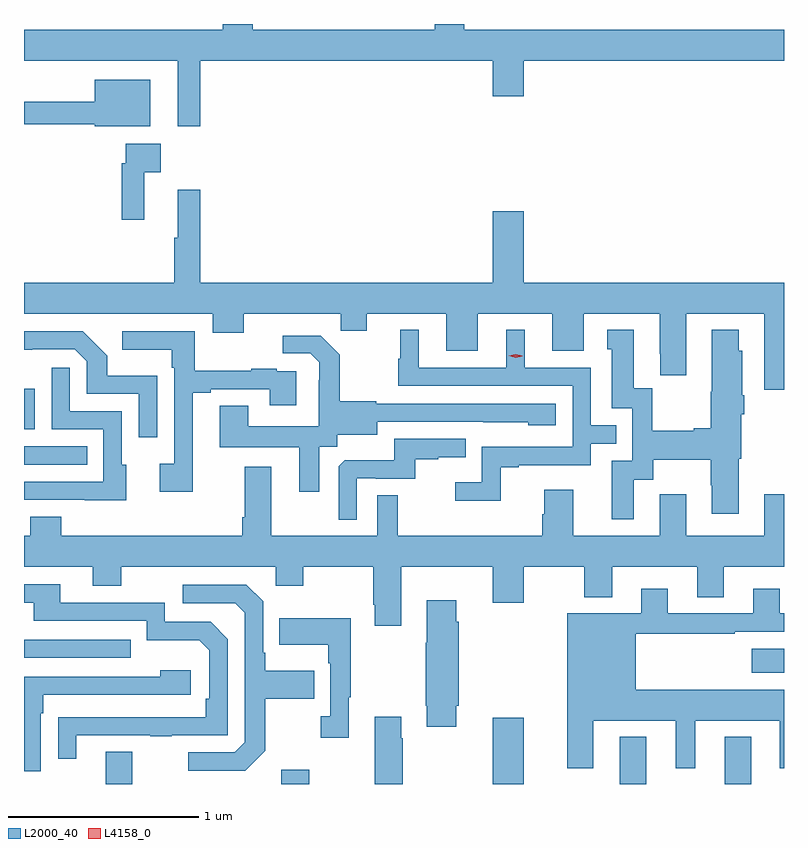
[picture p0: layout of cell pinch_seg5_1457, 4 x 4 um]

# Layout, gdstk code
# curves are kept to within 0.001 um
import gdstk
lib = gdstk.Library(unit=1e-6, precision=1e-09)
def R(c, l, rs):  # rectangles x0, y0, x1, y1
    for r in rs: c.add(gdstk.rectangle(r[:2], r[2:], *l))
def P(c, l, *ps):  # polygons
    for p in ps: c.add(gdstk.Polygon(p, *l))
L2000_40 = (2000, 40)
L4158_0 = (4158, 0)

pinch_seg5_1457 = lib.new_cell('pinch_seg5_1457')
R(pinch_seg5_1457, L2000_40, [(210.923,844.961,211.063,845.131), (211.847,844.961,211.995,845.035), (212.96,844.961,213.124,845.311), (213.629,844.961,213.769,845.209), (214.181,844.961,214.321,845.209), (214.323,845.546,214.494,845.674), (210.494,845.625,211.055,845.721), (210.494,846.642,210.827,846.738), (210.494,846.827,210.55,847.042)])
P(pinch_seg5_1457, L2000_40, [(211.421,848.768),(212.96,848.768),(212.96,848.58),(213.124,848.58),(213.124,848.768),(214.494,848.768),(214.494,848.932),(212.81,848.932),(212.81,848.961),(212.657,848.961),(212.657,848.932),(211.697,848.932),(211.697,848.961),(211.541,848.961),(211.541,848.932),(210.494,848.932),(210.494,848.768),(211.304,848.768),(211.304,848.424),(211.421,848.424)],
  [(211.159,848.668),(210.866,848.668),(210.866,848.552),(210.494,848.552),(210.494,848.434),(210.866,848.434),(210.866,848.423),(211.159,848.423)],
  [(211.127,848.18),(211.213,848.18),(211.213,848.332),(211.029,848.332),(211.029,848.228),(211.009,848.228),(211.009,847.932),(211.127,847.932)],
  [(211.421,848.089),(211.304,848.089),(211.304,847.836),(211.285,847.836),(211.285,847.6),(210.494,847.6),(210.494,847.436),(211.487,847.436),(211.487,847.337),(211.651,847.337),(211.651,847.436),(212.161,847.436),(212.161,847.346),(212.299,847.346),(212.299,847.436),(212.717,847.436),(212.717,847.242),(212.881,847.242),(212.881,847.436),(213.275,847.436),(213.275,847.242),(213.439,847.242),(213.439,847.436),(213.839,847.436),(213.839,847.225),(213.842,847.225),(213.842,847.113),(213.979,847.113),(213.979,847.436),(214.391,847.436),(214.391,847.035),(214.494,847.035),(214.494,847.6),(213.124,847.6),(213.124,847.975),(212.96,847.975),(212.96,847.6),(211.421,847.6)],
  [(213.003,846.627),(213.097,846.627),(213.097,846.639),(213.477,846.639),(213.477,846.753),(213.611,846.753),(213.611,846.849),(213.477,846.849),(213.477,847.152),(213.13,847.152),(213.13,847.351),(213.032,847.351),(213.032,847.152),(212.572,847.152),(212.572,847.351),(212.474,847.351),(212.474,847.2),(212.463,847.2),(212.463,847.056),(213.381,847.056),(213.381,846.735),(212.904,846.735),(212.904,846.55),(212.763,846.55),(212.763,846.452),(213.003,846.452)],
  [(213.703,846.562),(213.805,846.562),(213.805,846.668),(214.108,846.668),(214.108,846.534),(214.115,846.534),(214.115,846.384),(214.255,846.384),(214.255,846.672),(214.268,846.672),(214.268,846.906),(214.286,846.906),(214.286,847.006),(214.273,847.006),(214.273,847.242),(214.255,847.242),(214.255,847.351),(214.115,847.351),(214.115,847.025),(214.108,847.025),(214.108,846.833),(214.019,846.833),(214.019,846.82),(213.801,846.82),(213.801,847.043),(213.703,847.043),(213.703,847.351),(213.563,847.351),(213.563,847.248),(213.587,847.248),(213.587,846.939),(213.696,846.939),(213.696,846.663),(213.587,846.663),(213.587,846.354),(213.703,846.354)],
  [(211.194,847.111),(210.933,847.111),(210.933,847.214),(210.802,847.344),(210.494,847.344),(210.494,847.247),(210.762,847.248),(210.825,847.185),(210.825,847.014),(211.098,847.014),(211.098,846.786),(211.194,846.786)],
  [(211.381,847.02),(211.477,847.02),(211.477,847.038),(211.787,847.038),(211.787,846.954),(211.927,846.954),(211.927,847.134),(211.823,847.134),(211.823,847.147),(211.691,847.147),(211.691,847.136),(211.393,847.136),(211.393,847.344),(211.011,847.344),(211.011,847.247),(211.272,847.247),(211.272,847.151),(211.284,847.151),(211.284,846.646),(211.209,846.646),(211.209,846.498),(211.381,846.498)],
  [(212.047,846.736),(212.142,846.736),(212.142,846.8),(212.353,846.8),(212.353,846.867),(213.147,846.866),(213.147,846.848),(213.292,846.848),(213.292,846.963),(212.349,846.963),(212.349,846.976),(212.157,846.976),(212.157,847.221),(212.057,847.321),(211.857,847.321),(211.857,847.227),(212.001,847.227),(212.048,847.18),(212.048,847.085),(212.046,847.085),(212.046,846.844),(211.675,846.844),(211.675,846.953),(211.523,846.953),(211.523,846.734),(211.943,846.734),(211.943,846.498),(212.047,846.498)],
  [(211.033,846.642),(211.008,846.642),(211.008,846.924),(210.735,846.924),(210.735,847.153),(210.639,847.153),(210.639,846.828),(210.912,846.828),(210.912,846.552),(210.494,846.552),(210.494,846.456),(210.815,846.456),(210.815,846.455),(211.033,846.455)],
  [(212.244,846.57),(212.344,846.57),(212.344,846.567),(212.552,846.567),(212.552,846.669),(212.675,846.669),(212.675,846.68),(212.819,846.68),(212.819,846.777),(212.442,846.777),(212.442,846.665),(212.183,846.665),(212.151,846.633),(212.151,846.353),(212.244,846.353)],
  [(212.479,846.104),(212.96,846.104),(212.96,845.916),(213.124,845.916),(213.124,846.104),(213.442,846.104),(213.442,845.945),(213.589,845.945),(213.589,846.104),(214.037,846.104),(214.037,845.944),(214.177,845.944),(214.177,846.104),(214.494,846.104),(214.494,846.487),(214.391,846.487),(214.391,846.268),(213.979,846.268),(213.979,846.487),(213.839,846.487),(213.839,846.268),(213.385,846.268),(213.385,846.511),(213.233,846.511),(213.233,846.381),(213.221,846.381),(213.221,846.268),(212.461,846.268),(212.461,846.482),(212.352,846.482),(212.352,846.268),(211.795,846.268),(211.795,846.631),(211.655,846.631),(211.655,846.364),(211.643,846.364),(211.643,846.268),(210.691,846.268),(210.691,846.367),(210.527,846.367),(210.527,846.268),(210.494,846.268),(210.494,846.104),(210.857,846.104),(210.857,846.005),(211.005,846.005),(211.005,846.104),(211.818,846.104),(211.818,846.005),(211.965,846.005),(211.965,846.104),(212.332,846.104),(212.332,845.905),(212.339,845.905),(212.339,845.793),(212.479,845.793)],
  [(210.769,845.217),(211.159,845.217),(211.159,845.212),(211.271,845.212),(211.271,845.217),(211.566,845.217),(211.566,845.724),(211.476,845.814),(211.236,845.814),(211.236,845.916),(210.685,845.916),(210.685,846.012),(210.494,846.012),(210.494,845.916),(210.545,845.916),(210.545,845.82),(211.14,845.82),(211.14,845.717),(211.417,845.717),(211.47,845.664),(211.47,845.41),(211.45,845.41),(211.45,845.313),(210.673,845.312),(210.673,845.094),(210.769,845.094)],
  [(211.765,845.137),(211.765,845.41),(212.021,845.41),(212.021,845.557),(211.765,845.557),(211.765,845.653),(211.752,845.653),(211.752,845.922),(211.665,846.009),(211.329,846.009),(211.329,845.913),(211.605,845.913),(211.656,845.862),(211.656,845.181),(211.602,845.127),(211.359,845.127),(211.359,845.031),(211.659,845.031)],
  [(213.49,845.294),(213.923,845.294),(213.923,845.043),(214.027,845.043),(214.027,845.294),(214.472,845.294),(214.472,845.043),(214.494,845.043),(214.494,845.458),(213.715,845.458),(213.715,845.751),(214.235,845.751),(214.235,845.763),(214.494,845.763),(214.494,845.859),(214.471,845.859),(214.471,845.989),(214.331,845.989),(214.331,845.859),(213.883,845.859),(213.883,845.989),(213.743,845.989),(213.743,845.86),(213.353,845.86),(213.353,845.043),(213.49,845.043)],
  [(212.77,845.374),(212.783,845.374),(212.783,845.816),(212.77,845.816),(212.77,845.929),(212.615,845.929),(212.615,845.705),(212.608,845.705),(212.608,845.374),(212.615,845.374),(212.615,845.262),(212.77,845.262)],
  [(212.203,845.417),(212.215,845.417),(212.215,845.833),(211.837,845.833),(211.837,845.693),(212.094,845.693),(212.094,845.597),(212.106,845.597),(212.106,845.318),(212.055,845.318),(212.055,845.205),(212.203,845.205)],
  [(210.582,845.333),(210.595,845.333),(210.595,845.43),(211.372,845.43),(211.372,845.56),(211.211,845.56),(211.211,845.526),(210.494,845.526),(210.494,845.028),(210.582,845.028)],
  [(212.487,845.201),(212.479,845.201),(212.479,845.314),(212.339,845.314),(212.339,844.961),(212.487,844.961)])
P(pinch_seg5_1457, L4158_0, [(213.081,847.204),(213.045,847.215),(213.045,847.215),(213.045,847.216),(213.081,847.224),(213.116,847.214),(213.117,847.213),(213.116,847.213)])

lib.write_gds('pinch_seg5_1457.gds')
